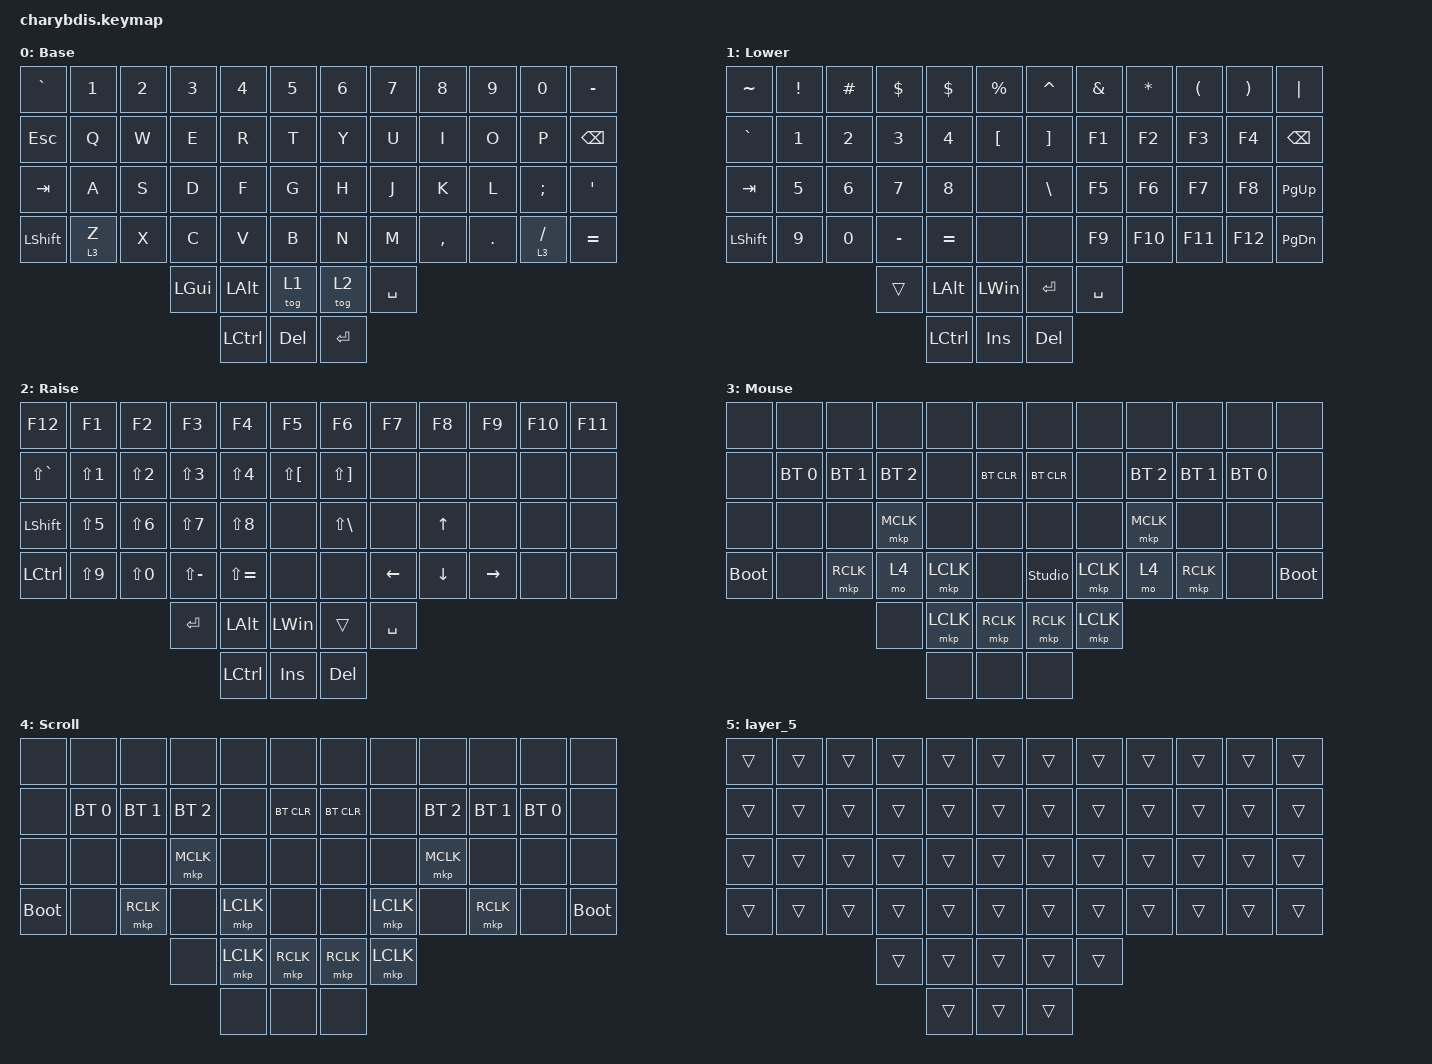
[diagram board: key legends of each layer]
#include <dt-bindings/zmk/mouse.h>
#include <behaviors.dtsi>
#include <dt-bindings/zmk/bt.h>
#include <dt-bindings/zmk/keys.h>
#include <dt-bindings/zmk/pointing.h>

&lt {
    tapping-term-ms = <200>;
    flavor = "balanced";
    quick-tap-ms = <150>;
};

/ {
    combos { compatible = "zmk,combos"; };

    keymap {
        compatible = "zmk,keymap";

        Base {
            bindings = <
&kp GRAVE   &kp N1   &kp N2  &kp N3        &kp N4     &kp N5        &kp N6     &kp N7     &kp N8     &kp N9   &kp N0       &kp MINUS
&kp ESC     &kp Q    &kp W   &kp E         &kp R      &kp T         &kp Y      &kp U      &kp I      &kp O    &kp P        &kp BACKSPACE
&kp TAB     &kp A    &kp S   &kp D         &kp F      &kp G         &kp H      &kp J      &kp K      &kp L    &kp SEMI     &kp APOS
&kp LSHIFT  &lt 3 Z  &kp X   &kp C         &kp V      &kp B         &kp N      &kp M      &kp COMMA  &kp DOT  &lt 3 SLASH  &kp EQUAL
                             &kp LEFT_GUI  &kp LALT   &tog 1        &tog 2     &kp SPACE
                                           &kp LCTRL  &kp DELETE    &kp ENTER
            >;
        };

        Lower {
            bindings = <
&kp TILDE   &kp EXCLAMATION  &kp HASH      &kp DOLLAR    &kp DOLLAR    &kp PERCENT     &kp CARET      &kp AMPERSAND  &kp ASTERISK  &kp LEFT_PARENTHESIS  &kp RIGHT_PARENTHESIS  &kp PIPE
&kp GRAVE   &kp NUMBER_1     &kp NUMBER_2  &kp NUMBER_3  &kp NUMBER_4  &kp LBKT        &kp RBKT       &kp F1         &kp F2        &kp F3                &kp F4                 &kp BACKSPACE
&kp TAB     &kp NUMBER_5     &kp NUMBER_6  &kp NUMBER_7  &kp NUMBER_8  &none           &kp BACKSLASH  &kp F5         &kp F6        &kp F7                &kp F8                 &kp PAGE_UP
&kp LSHIFT  &kp NUMBER_9     &kp NUMBER_0  &kp MINUS     &kp EQUAL     &none           &none          &kp F9         &kp F10       &kp F11               &kp F12                &kp PAGE_DOWN
                                           &trans        &kp LEFT_ALT  &kp LEFT_WIN    &kp ENTER      &kp SPACE
                                                         &kp LCTRL     &kp INS         &kp DELETE
            >;
        };

        Raise {
            bindings = <
&kp F12        &kp F1      &kp F2      &kp F3         &kp F4         &kp F5          &kp F6             &kp F7     &kp F8    &kp F9     &kp F10  &kp F11
&kp LS(GRAVE)  &kp LS(N1)  &kp LS(N2)  &kp LS(N3)     &kp LS(N4)     &kp LS(LBKT)    &kp LS(RBKT)       &none      &none     &none      &none    &none
&kp LSHFT      &kp LS(N5)  &kp LS(N6)  &kp LS(N7)     &kp LS(N8)     &none           &kp LS(BACKSLASH)  &none      &kp UP    &none      &none    &none
&kp LCTRL      &kp LS(N9)  &kp LS(N0)  &kp LS(MINUS)  &kp LS(EQUAL)  &none           &none              &kp LEFT   &kp DOWN  &kp RIGHT  &none    &none
                                       &kp ENTER      &kp LEFT_ALT   &kp LEFT_WIN    &trans             &kp SPACE
                                                      &kp LCTRL      &kp INS         &kp DELETE
            >;
        };

        Mouse {
            bindings = <
&none        &none         &none         &none         &none      &none         &none           &none      &none         &none         &none         &none
&none        &bt BT_SEL 0  &bt BT_SEL 1  &bt BT_SEL 2  &none      &bt BT_CLR    &bt BT_CLR      &none      &bt BT_SEL 2  &bt BT_SEL 1  &bt BT_SEL 0  &none
&none        &none         &none         &mkp MCLK     &none      &none         &none           &none      &mkp MCLK     &none         &none         &none
&bootloader  &none         &mkp RCLK     &mo 4         &mkp LCLK  &none         &studio_unlock  &mkp LCLK  &mo 4         &mkp RCLK     &none         &bootloader
                                         &none         &mkp LCLK  &mkp RCLK     &mkp RCLK       &mkp LCLK
                                                       &none      &none         &none
            >;
        };

        Scroll {
            bindings = <
&none        &none         &none         &none         &none      &none         &none       &none      &none         &none         &none         &none
&none        &bt BT_SEL 0  &bt BT_SEL 1  &bt BT_SEL 2  &none      &bt BT_CLR    &bt BT_CLR  &none      &bt BT_SEL 2  &bt BT_SEL 1  &bt BT_SEL 0  &none
&none        &none         &none         &mkp MCLK     &none      &none         &none       &none      &mkp MCLK     &none         &none         &none
&bootloader  &none         &mkp RCLK     &none         &mkp LCLK  &none         &none       &mkp LCLK  &none         &mkp RCLK     &none         &bootloader
                                         &none         &mkp LCLK  &mkp RCLK     &mkp RCLK   &mkp LCLK
                                                       &none      &none         &none
            >;
        };

        layer_5 {
            bindings = <
&trans  &trans  &trans  &trans  &trans  &trans    &trans  &trans  &trans  &trans  &trans  &trans
&trans  &trans  &trans  &trans  &trans  &trans    &trans  &trans  &trans  &trans  &trans  &trans
&trans  &trans  &trans  &trans  &trans  &trans    &trans  &trans  &trans  &trans  &trans  &trans
&trans  &trans  &trans  &trans  &trans  &trans    &trans  &trans  &trans  &trans  &trans  &trans
                        &trans  &trans  &trans    &trans  &trans
                                &trans  &trans    &trans
            >;
        };
    };
};
